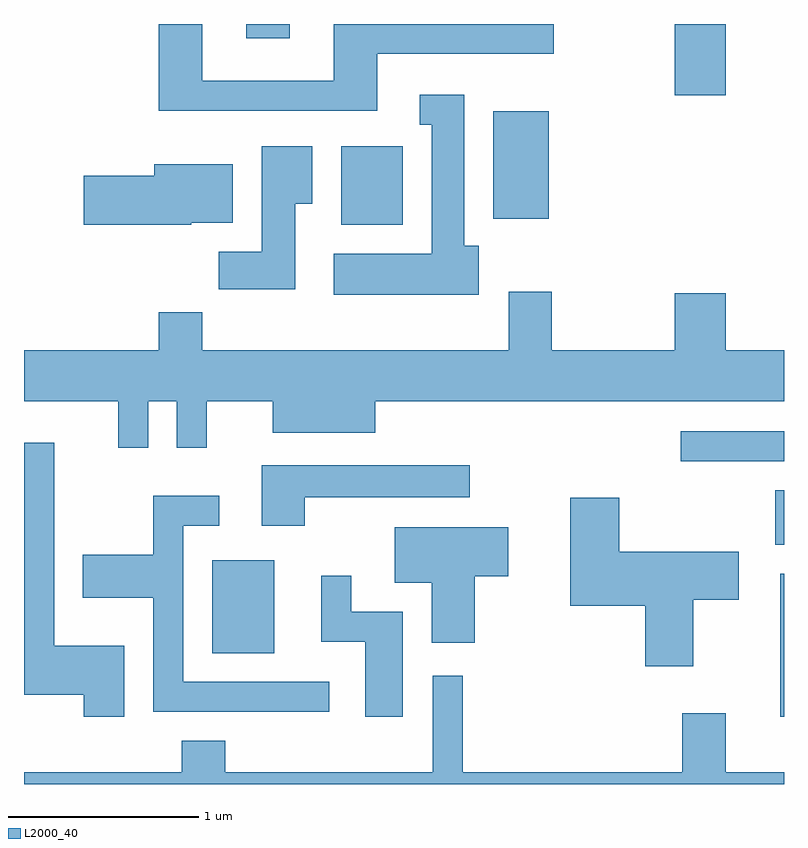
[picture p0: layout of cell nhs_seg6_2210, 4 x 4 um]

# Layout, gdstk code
import gdstk
lib = gdstk.Library(unit=1e-6, precision=1e-09)
def R(c, l, rs):  # rectangles x0, y0, x1, y1
    for r in rs: c.add(gdstk.rectangle(r[:2], r[2:], *l))
def P(c, l, *ps):  # polygons
    for p in ps: c.add(gdstk.Polygon(p, *l))
L2000_40 = (2000, 40)

nhs_seg6_2210 = lib.new_cell('nhs_seg6_2210')
R(nhs_seg6_2210, L2000_40, [(255.591,1630.516,255.611,1631.269), (252.601,1630.851,252.929,1631.339), (255.566,1631.421,255.611,1631.709), (255.068,1631.861,255.611,1632.019), (253.281,1633.106,253.604,1633.519), (254.081,1633.136,254.374,1633.704), (255.036,1633.786,255.304,1634.162), (252.781,1634.086,253.009,1634.162)])
P(nhs_seg6_2210, L2000_40, [(253.469,1634.006),(254.398,1634.006),(254.398,1634.162),(253.241,1634.162),(253.241,1633.864),(252.549,1633.864),(252.549,1634.162),(252.321,1634.162),(252.321,1633.706),(253.469,1633.706)],
  [(254.004,1632.994),(253.929,1632.994),(253.929,1633.789),(253.693,1633.789),(253.693,1633.631),(253.756,1633.631),(253.756,1632.954),(253.241,1632.954),(253.241,1632.736),(254.004,1632.736)],
  [(253.039,1633.216),(253.129,1633.216),(253.129,1633.519),(252.861,1633.519),(252.861,1632.964),(252.636,1632.964),(252.636,1632.766),(253.039,1632.766)],
  [(252.49,1633.116),(252.709,1633.116),(252.709,1633.424),(252.296,1633.424),(252.296,1633.364),(251.926,1633.364),(251.926,1633.106),(252.49,1633.106)],
  [(252.264,1632.176),(252.416,1632.176),(252.416,1631.933),(252.574,1631.933),(252.574,1632.176),(252.921,1632.176),(252.921,1632.011),(253.459,1632.011),(253.459,1632.176),(255.611,1632.176),(255.611,1632.444),(255.304,1632.444),(255.304,1632.744),(255.036,1632.744),(255.036,1632.444),(254.389,1632.444),(254.389,1632.754),(254.161,1632.754),(254.161,1632.444),(252.549,1632.444),(252.549,1632.644),(252.321,1632.644),(252.321,1632.444),(251.611,1632.444),(251.611,1632.176),(252.106,1632.176),(252.106,1631.933),(252.264,1631.933)],
  [(252.139,1630.889),(251.769,1630.889),(251.769,1631.958),(251.611,1631.958),(251.611,1630.631),(251.926,1630.631),(251.926,1630.516),(252.139,1630.516)],
  [(253.089,1631.671),(253.958,1631.671),(253.958,1631.839),(252.861,1631.839),(252.861,1631.521),(253.089,1631.521)],
  [(253.218,1630.699),(252.449,1630.699),(252.449,1631.521),(252.638,1631.521),(252.638,1631.679),(252.291,1631.679),(252.291,1631.369),(251.921,1631.369),(251.921,1631.141),(252.291,1631.141),(252.291,1630.541),(253.218,1630.541)],
  [(255.134,1631.131),(255.374,1631.131),(255.374,1631.384),(254.744,1631.384),(254.744,1631.669),(254.486,1631.669),(254.486,1631.101),(254.881,1631.101),(254.881,1630.781),(255.134,1630.781)],
  [(253.984,1631.256),(254.159,1631.256),(254.159,1631.514),(253.561,1631.514),(253.561,1631.221),(253.756,1631.221),(253.756,1630.906),(253.984,1630.906)],
  [(253.604,1631.069),(253.334,1631.069),(253.334,1631.258),(253.176,1631.258),(253.176,1630.911),(253.406,1630.911),(253.406,1630.516),(253.604,1630.516)],
  [(255.611,1630.224),(255.304,1630.224),(255.304,1630.534),(255.076,1630.534),(255.076,1630.224),(253.919,1630.224),(253.919,1630.733),(253.761,1630.733),(253.761,1630.224),(252.669,1630.224),(252.669,1630.389),(252.441,1630.389),(252.441,1630.224),(251.611,1630.224),(251.611,1630.162),(255.611,1630.162)])

lib.write_gds('nhs_seg6_2210.gds')
